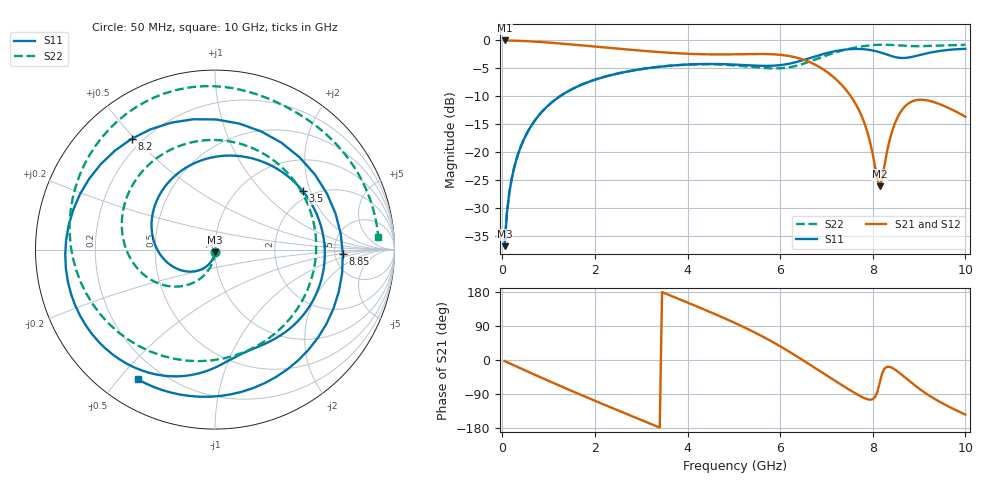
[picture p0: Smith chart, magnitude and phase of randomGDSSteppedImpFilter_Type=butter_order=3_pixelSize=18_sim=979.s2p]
! freq	dB(S11)	phase(S11)	dB(S12)	phase(S12)
!  dB(S21)	phase(S21)	dB(S22)	phase(S22)
!S-par simulation data
#  GHz  S  DB  R 50
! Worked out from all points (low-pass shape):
!   200 points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, 50 MHz to 10 GHz, reference 50 ohm
!   highest |S21| = -0.01 dB at 50 MHz (marker M1); lowest = -26.1 dB at 8.15 GHz (marker M2)
!   |S21| within 3 dB of the highest: start of sweep to 6.321 GHz
!   lowest |S11| = -36.8 dB at 50 MHz (marker M3), VSWR 1.03, Z = 49.9 - j1.44 ohm
!   |S11| at or under -10 dB: start of sweep to 1.245 GHz
!   |S22| runs from -36.8 to -0.8 dB; largest |S21 - S12| = 0
!   S11 on the Smith chart (normalised r, x): 50 MHz: 1.00, -0.03; 3.5 GHz: 1.79, +1.78; 8.2 GHz: 0.16, +0.49; 8.85 GHz: 5.90, -0.61; 10 GHz: 0.11, -0.56
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0.05  -36.81 -93.1  -0.01 -2.8  -0.01 -2.8  -36.80 -91.5
0.2  -24.88 -104.5  -0.03 -11.2  -0.03 -11.2  -24.86 -98.3
0.5  -17.12 -126.0  -0.12 -27.8  -0.12 -27.8  -17.10 -110.8
1.15  -10.56 -171.6  -0.48 -63.1  -0.48 -63.1  -10.54 -136.0
1.75  -7.79 147.1  -0.91 -94.7  -0.91 -94.7  -7.77 -157.9
2.6  -5.73 90.0  -1.55 -138.2  -1.55 -138.2  -5.72 172.4
3.4  -4.70 39.5  -2.09 -178.3  -2.09 -178.3  -4.70 142.9
3.5  -4.62 33.6  -2.15 176.7  -2.15 176.7  -4.62 138.9
4.2  -4.24 -5.5  -2.44 141.5  -2.44 141.5  -4.28 108.3
5.05  -4.34 -45.1  -2.48 96.3  -2.48 96.3  -4.49 58.9
5.9  -4.50 -73.7  -2.51 43.3  -2.51 43.3  -5.01 -18.3
6.35  -3.87 -86.7  -3.07 10.4  -3.07 10.4  -4.54 -73.1
6.7  -3.00 -100.0  -4.11 -16.8  -4.11 -16.8  -3.60 -116.6
7.4  -1.65 -141.7  -8.63 -71.4  -8.63 -71.4  -1.68 169.2
7.85  -1.61 176.3  -15.52 -102.2  -15.52 -102.2  -0.97 130.8
8.15  -2.11 135.3  -26.08 -59.8  -26.08 -59.8  -0.78 107.9
8.2  -2.24 127.0  -24.83 -36.3  -24.83 -36.3  -0.77 104.3
8.35  -2.66 99.4  -18.31 -17.9  -18.31 -17.9  -0.79 93.9
8.65  -3.14 36.9  -12.23 -41.3  -12.23 -41.3  -0.95 75.2
8.85  -2.94 -2.0  -10.91 -61.4  -10.91 -61.4  -1.02 64.2
9.35  -2.01 -69.5  -11.12 -103.7  -11.12 -103.7  -0.95 38.2
10  -1.50 -120.9  -13.64 -144.1  -13.64 -144.1  -0.80 4.6
